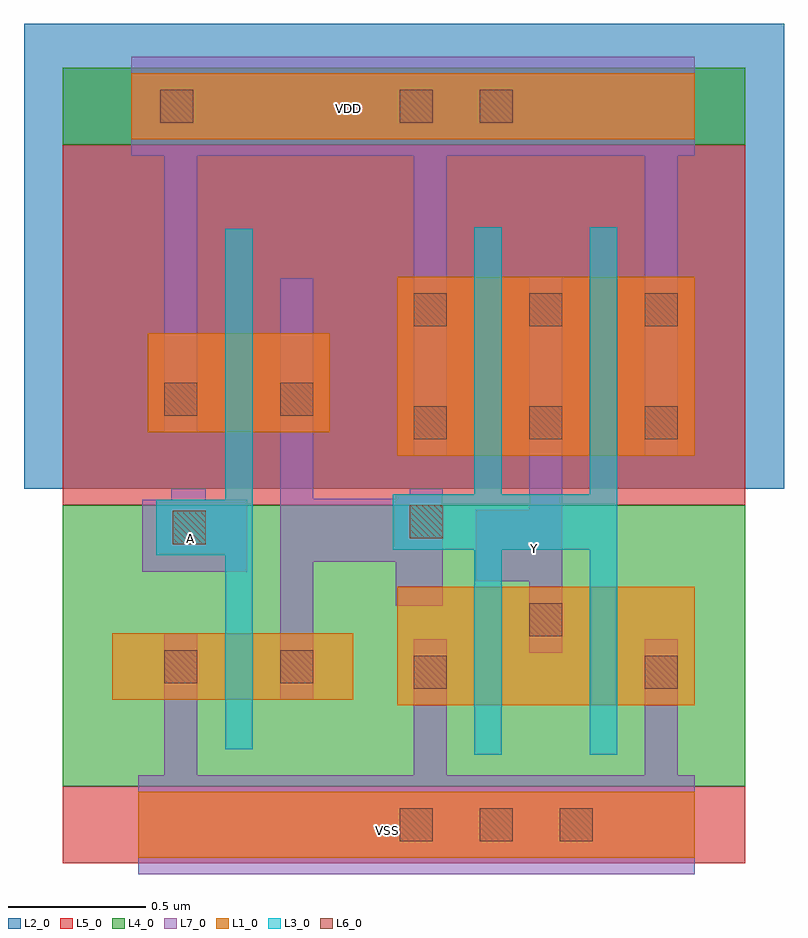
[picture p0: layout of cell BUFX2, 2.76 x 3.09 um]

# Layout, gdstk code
import gdstk
lib = gdstk.Library(unit=1e-6, precision=1e-09)
def R(c, l, rs):  # rectangles x0, y0, x1, y1
    for r in rs: c.add(gdstk.rectangle(r[:2], r[2:], *l))
def A(c, l, x, y, w, h, nx, ny, dx, dy):  # array of equal rectangles
    R(c, l, [(x+i*dx, y+j*dy, x+i*dx+w, y+j*dy+h) for i in range(nx) for j in range(ny)])
L1_0 = (1, 0)
L2_0 = (2, 0)
L3_0 = (3, 0)
L4_0 = (4, 0)
L5_0 = (5, 0)
L6_0 = (6, 0)
L7_0 = (7, 0)

bufx2 = lib.new_cell('BUFX2')
R(bufx2, L1_0, [(-0.625,-0.095,1.395,0.145), (0.315,0.46,1.395,0.89), (-0.72,0.48,0.155,0.72), (0.315,1.365,1.395,2.015), (-0.59,1.45,0.07,1.81), (-0.65,2.515,1.395,2.755)])
R(bufx2, L2_0, [(-1.04,1.245,1.72,2.935)])
R(bufx2, L3_0, [(0.595,0.28,0.695,1.025), (1.015,0.28,1.115,1.025), (-0.31,0.3,-0.21,1.005), (-0.56,1.005,-0.21,1.205), (0.3,1.025,1.115,1.225), (-0.31,1.18,-0.21,2.19), (0.595,1.225,0.695,2.195), (1.015,1.225,1.115,2.195)])
R(bufx2, L4_0, [(-0.9,0.165,1.58,1.185), (-0.9,2.495,1.58,2.775)])
R(bufx2, L5_0, [(-0.9,-0.115,1.58,0.165), (-0.9,1.185,1.58,2.495)])
A(bufx2, L6_0, 0.325, -0.035, 0.12, 0.12, 3, 1, 0.29, 0)
A(bufx2, L6_0, 0.375, 1.425, 0.12, 0.12, 3, 2, 0.42, 0.41)
R(bufx2, L6_0, [(0.375,0.52,0.495,0.64), (1.215,0.52,1.335,0.64), (-0.53,0.54,-0.41,0.66), (-0.11,0.54,0.01,0.66), (0.795,0.71,0.915,0.83), (-0.5,1.045,-0.38,1.165), (0.36,1.065,0.48,1.185), (-0.53,1.51,-0.41,1.63), (-0.11,1.51,0.01,1.63), (-0.545,2.575,-0.425,2.695), (0.325,2.575,0.445,2.695), (0.615,2.575,0.735,2.695)])
R(bufx2, L7_0, [(-0.625,-0.155,1.395,0.205), (-0.53,0.205,-0.41,0.72), (0.375,0.205,0.495,0.7), (1.215,0.205,1.335,0.7), (-0.11,0.48,0.01,2.01), (0.795,0.65,0.915,0.91), (0.31,0.82,0.48,1.225), (0.6,0.91,0.915,1.17), (-0.61,0.945,-0.23,1.205), (-0.055,0.98,0.355,1.21), (0.795,1.17,0.915,2.015), (-0.505,1.205,-0.38,1.245), (0.36,1.225,0.48,1.245), (0.375,1.365,0.495,2.455), (1.215,1.365,1.335,2.455), (-0.53,1.45,-0.41,2.455), (-0.65,2.455,1.395,2.815)])
bufx2.add(gdstk.Label('VSS', (0.28,0.005), layer=7, texttype=251))
bufx2.add(gdstk.Label('Y', (0.815,1.03), layer=7, texttype=251))
bufx2.add(gdstk.Label('A', (-0.435,1.065), layer=7, texttype=251))
bufx2.add(gdstk.Label('VDD', (0.14,2.625), layer=7, texttype=251))

lib.write_gds('BUFX2.gds')
